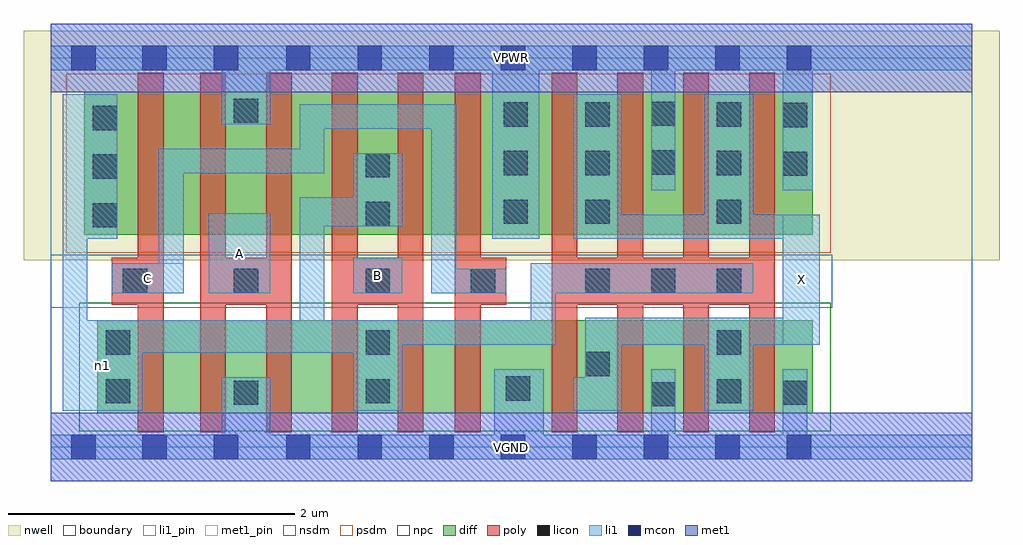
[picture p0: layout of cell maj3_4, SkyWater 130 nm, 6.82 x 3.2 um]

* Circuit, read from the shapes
.subckt maj3_4 A B C VGND VPWR X n1
XM1 n2 C n1 VSUBS sky130_fd_pr__nfet_01v8 w=0.65 l=0.18
XM2 VGND A n2 VSUBS sky130_fd_pr__nfet_01v8 w=0.65 l=0.18
XM3 n3 A VGND VSUBS sky130_fd_pr__nfet_01v8 w=0.65 l=0.18
XM4 n1 B n3 VSUBS sky130_fd_pr__nfet_01v8 w=0.65 l=0.18
XM5 n4 B n1 VSUBS sky130_fd_pr__nfet_01v8 w=0.65 l=0.18
XM6 VGND C n4 VSUBS sky130_fd_pr__nfet_01v8 w=0.65 l=0.18
XM7 X n1 VGND VSUBS sky130_fd_pr__nfet_01v8 w=0.65 l=0.18 m=4
XM8 n5 C n1 n6 sky130_fd_pr__pfet_01v8 w=1 l=0.18
XM9 VPWR A n5 n6 sky130_fd_pr__pfet_01v8 w=1 l=0.18
XM10 n7 A VPWR n6 sky130_fd_pr__pfet_01v8 w=1 l=0.18
XM11 n1 B n7 n6 sky130_fd_pr__pfet_01v8 w=1 l=0.18
XM12 n8 B n1 n6 sky130_fd_pr__pfet_01v8 w=1 l=0.18
XM13 VPWR C n8 n6 sky130_fd_pr__pfet_01v8 w=1 l=0.18
XM14 X n1 VPWR n6 sky130_fd_pr__pfet_01v8 w=1 l=0.18 m=4
.ends

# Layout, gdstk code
import gdstk
lib = gdstk.Library(unit=1e-6, precision=1e-09)
def R(c, l, rs):  # rectangles x0, y0, x1, y1
    for r in rs: c.add(gdstk.rectangle(r[:2], r[2:], *l))
def A(c, l, x, y, w, h, nx, ny, dx, dy):  # array of equal rectangles
    R(c, l, [(x+i*dx, y+j*dy, x+i*dx+w, y+j*dy+h) for i in range(nx) for j in range(ny)])
nwell = (64, 20)
diff = (65, 20)
poly = (66, 20)
licon = (66, 44)
li1_pin = (67, 16)
li1 = (67, 20)
mcon = (67, 44)
met1_pin = (68, 16)
met1 = (68, 20)
nsdm = (93, 44)
psdm = (94, 20)
npc = (95, 20)
boundary = (235, 4)

maj3_4 = lib.new_cell('maj3_4')
R(maj3_4, nwell, [(-0.19,1.305,6.63,2.91), (0,1.305,6.44,2.91)])
R(maj3_4, diff, [(0.325,0.235,5.325,0.885), (0.235,1.485,5.325,2.485)])
A(maj3_4, poly, 1.045, 0.105, 0.18, 2.51, 4, 1, 0.46, 0)
A(maj3_4, poly, 3.5, 0.105, 0.18, 2.51, 4, 1, 0.46, 0)
R(maj3_4, poly, [(0.61,0.105,0.79,2.615), (2.825,0.105,3.005,2.615), (0.425,0.995,0.79,1.325), (1.045,0.995,1.685,1.325), (1.965,0.995,2.605,1.325), (2.825,0.995,3.185,1.325), (3.5,0.995,5.06,1.325)])
A(maj3_4, licon, 3.735, 1.075, 0.17, 0.17, 3, 1, 0.46, 0)
A(maj3_4, licon, 0.295, 1.535, 0.17, 0.17, 1, 3, 0, 0.34)
A(maj3_4, licon, 3.165, 1.56, 0.17, 0.17, 1, 3, 0, 0.34)
A(maj3_4, licon, 3.735, 1.56, 0.17, 0.17, 1, 3, 0, 0.34)
A(maj3_4, licon, 4.655, 1.56, 0.17, 0.17, 1, 3, 0, 0.34)
R(maj3_4, licon, [(4.195,0.285,4.365,0.455), (1.28,0.295,1.45,0.465), (5.115,0.295,5.285,0.465), (0.385,0.305,0.555,0.475), (2.2,0.305,2.37,0.475), (4.655,0.305,4.825,0.475), (3.18,0.325,3.35,0.495), (3.735,0.495,3.905,0.665), (0.385,0.645,0.555,0.815), (2.2,0.645,2.37,0.815), (4.655,0.645,4.825,0.815), (0.505,1.075,0.675,1.245), (1.28,1.075,1.45,1.245), (2.2,1.075,2.37,1.245), (2.935,1.075,3.105,1.245), (2.2,1.545,2.37,1.715), (2.2,1.885,2.37,2.055), (5.115,1.895,5.285,2.065), (4.195,1.905,4.365,2.075), (5.115,2.235,5.285,2.405), (4.195,2.245,4.365,2.415), (1.28,2.265,1.45,2.435)])
R(maj3_4, li1_pin, [(5.115,0.715,5.375,1.625), (0.425,1.075,0.93,1.285), (1.105,1.075,1.535,1.635), (2.115,1.075,2.455,1.325)])
R(maj3_4, li1, [(0,-0.085,6.44,0.085), (1.195,-0.085,1.535,0.49), (3.1,-0.085,3.445,0.545), (4.195,-0.085,4.365,0.545), (5.115,-0.085,5.285,0.545), (0.085,0.255,0.64,0.885), (0.085,0.255,0.255,2.465), (2.115,0.255,2.455,0.885), (3.65,0.255,3.99,0.49), (3.735,0.255,3.99,0.905), (4.57,0.255,4.91,0.905), (0.085,0.66,2.455,0.885), (1.74,0.66,1.91,1.745), (0.085,0.715,3.53,0.885), (3.355,0.715,3.53,1.285), (3.735,0.715,5.375,0.905), (5.115,0.715,5.375,1.625), (0.425,1.075,0.93,1.285), (0.755,1.075,0.93,2.085), (1.105,1.075,1.535,1.635), (2.115,1.075,2.455,1.325), (2.66,1.075,2.835,2.395), (2.66,1.075,3.185,1.245), (3.355,1.075,4.91,1.285), (0.085,1.455,0.465,2.465), (3.085,1.455,3.415,2.805), (3.65,1.455,3.99,2.465), (3.65,1.455,5.375,1.625), (4.57,1.455,4.91,2.465), (1.74,1.545,2.455,1.745), (2.115,1.545,2.455,2.055), (4.195,1.795,4.365,2.805), (5.115,1.795,5.325,2.805), (0.755,1.915,1.91,2.085), (1.74,1.915,1.91,2.395), (1.74,2.225,2.835,2.395), (1.195,2.255,1.535,2.805), (0,2.635,6.44,2.805)])
A(maj3_4, mcon, 1.645, -0.085, 0.17, 0.17, 8, 2, 0.5, 2.72)
R(maj3_4, mcon, [(0.145,-0.085,0.315,0.085), (0.64,-0.085,0.81,0.085), (1.14,-0.085,1.31,0.085), (0.145,2.635,0.315,2.805), (0.64,2.635,0.81,2.805), (1.14,2.635,1.31,2.805)])
R(maj3_4, met1_pin, [(0,-0.24,6.44,0.24), (0,2.48,6.44,2.96)])
R(maj3_4, met1, [(0,-0.24,6.44,0.24), (0,2.48,6.44,2.96)])
R(maj3_4, nsdm, [(0.2,0.11,5.45,1.01)])
R(maj3_4, psdm, [(0.11,1.36,5.45,2.61)])
R(maj3_4, npc, [(0,0.975,5.46,1.345)])
R(maj3_4, boundary, [(0,0,6.44,2.72)])
maj3_4.add(gdstk.Label('A', (1.32,1.355), layer=67, texttype=5))
maj3_4.add(gdstk.Label('B', (2.285,1.2), layer=67, texttype=5))
maj3_4.add(gdstk.Label('C', (0.677,1.18), layer=67, texttype=5))
maj3_4.add(gdstk.Label('X', (5.245,1.17), layer=67, texttype=5))
maj3_4.add(gdstk.Label('n1', (0.362,0.57), layer=67, texttype=5))
maj3_4.add(gdstk.Label('VPWR', (3.22,2.72), layer=68, texttype=5))
maj3_4.add(gdstk.Label('VGND', (3.22,0), layer=68, texttype=5))
maj3_4.add(gdstk.Label('A', (1.32,1.355), layer=67, texttype=16))
maj3_4.add(gdstk.Label('B', (2.285,1.2), layer=67, texttype=16))
maj3_4.add(gdstk.Label('C', (0.677,1.18), layer=67, texttype=16))
maj3_4.add(gdstk.Label('X', (5.245,1.17), layer=67, texttype=16))
maj3_4.add(gdstk.Label('VPWR', (3.22,2.72), layer=68, texttype=16))
maj3_4.add(gdstk.Label('VGND', (3.22,0), layer=68, texttype=16))

lib.write_gds('maj3_4.gds')
